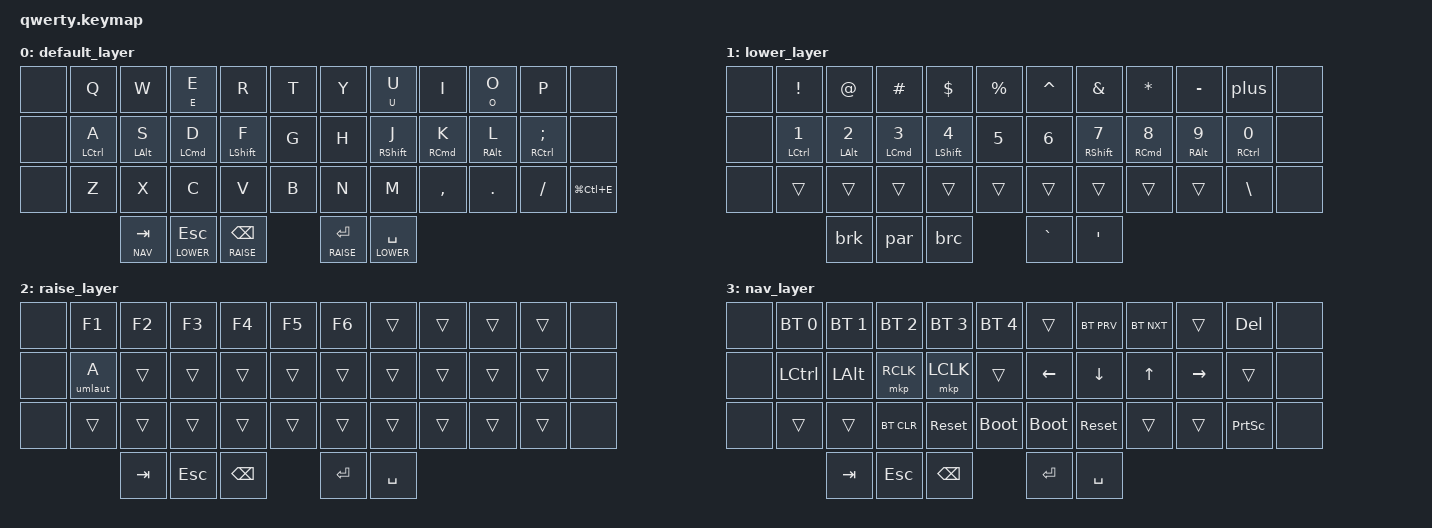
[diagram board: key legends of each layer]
/* upstream bindings and behaviors */
#include <behaviors.dtsi>
#include <dt-bindings/zmk/bt.h>
#include <dt-bindings/zmk/keys.h>
#include <dt-bindings/zmk/mouse.h>
#include <dt-bindings/zmk/outputs.h>
#include <behaviors/mouse_keys.dtsi>
#include <dt-bindings/zmk/ext_power.h>

#define DEFAULT 0
#define LOWER   1
#define RAISE   2
#define NAV     3

// todo: make dongle work.
// https://github.com/zmkfirmware/zmk/tree/main/app/boards/shields/corne
// https://github.com/aroum/zmk-enki42

// https://nickcoutsos.github.io/keymap-editor

&lt {
    quick-tap-ms = <200>;
    flavor = "balanced";
};

&caps_word {
    continue-list = <UNDERSCORE MINUS>;
};

/ {
      behaviors {
        hm: hold_preferred_homerow_mods {
            compatible = "zmk,behavior-hold-tap";
            #binding-cells = <2>;
            tapping-term-ms = <150>;
            quick-tap-ms = <200>;
            require-prior-idle-ms = <125>;
            flavor = "hold-preferred";
            bindings = <&kp>, <&kp>;
        };
        tm: tap_preferred_homerow_mods {
            compatible = "zmk,behavior-hold-tap";
            #binding-cells = <2>;
            tapping-term-ms = <150>;
            quick-tap-ms = <200>;
            require-prior-idle-ms = <125>;
            flavor = "tap-preferred";
            bindings = <&kp>, <&kp>;
        };
        mlt: mouse_lt {
            compatible = "zmk,behavior-hold-tap";
            #binding-cells = <2>;
            tapping-term-ms = <150>;
            tapping-term-ms = <200>;
            require-prior-idle-ms = <125>;
            flavor = "hold-preferred";
            bindings = <&mo>, <&mkp>;
        };
        eu: tap_preferred_euro_mods {
            compatible = "zmk,behavior-hold-tap";
            // behavior-hold-tap must have two parameters even though we're only using the second
            #binding-cells = <2>;
            tapping-term-ms = <150>;
            quick-tap-ms = <200>;
            require-prior-idle-ms = <125>;
            flavor = "tap-preferred";
            // long press will run the euro macro
            bindings = <&euro>, <&kp>;
        };
        um: tap_preferred_umlaut_mods {
            compatible = "zmk,behavior-hold-tap";
            #binding-cells = <2>;
            tapping-term-ms = <150>;
            quick-tap-ms = <200>;
            require-prior-idle-ms = <125>;
            flavor = "tap-preferred";
            // long press: umlaut with first param
            // tap: keypress second param
            bindings = <&umlaut>, <&kp>;
        };
        plus: plus_equals {
            compatible = "zmk,behavior-mod-morph";
            #binding-cells = <0>;
            bindings = <&kp PLUS>, <&kp EQUAL>;
            mods = <(MOD_LSFT|MOD_RSFT)>;
        };
        par: paranthesis {
            compatible = "zmk,behavior-mod-morph";
            #binding-cells = <0>;
            bindings = <&kp LPAR>, <&kp RPAR>;
            mods = <(MOD_LSFT|MOD_RSFT)>;
        };
        brc: curly_braces {
            compatible = "zmk,behavior-mod-morph";
            #binding-cells = <0>;
            bindings = <&kp LBRC>, <&kp RBRC>;
            mods = <(MOD_LSFT|MOD_RSFT)>;
        };
        brk: brackets {
            compatible = "zmk,behavior-mod-morph";
            #binding-cells = <0>;
            bindings = <&kp LBKT>, <&kp RBKT>;
            mods = <(MOD_LSFT|MOD_RSFT)>;
        };
    };
    macros {
        umlaut: umlaut {
            compatible = "zmk,behavior-macro-one-param";
            #binding-cells = <1>;
            bindings =
                <&macro_tap &kp K_CMENU>, // menu key is mapped to compose key
                <&macro_tap &kp DQT>,
                <&macro_tap>, // tap the key provided by params
                <&macro_param_1to1 &kp MACRO_PLACEHOLDER>;
        };
        euro: euro {
            compatible = "zmk,behavior-macro";
            #binding-cells = <0>;
            bindings =
                <&macro_tap &kp K_CMENU>,
                <&macro_tap &kp C>,
                <&macro_tap &kp EQUAL>;
        };
    };
    keymap {
        compatible = "zmk,keymap";

        default_layer {
            bindings = <
// ╭───────┬─────────────┬────────────┬────────────┬─────────────┬───────╮   ╭───────┬─────────────┬────────────┬────────────┬────────────────┬───────────────╮
     &none      &kp Q        &kp W        &eu E E       &kp R      &kp T       &kp Y     &um U U       &kp I       &um O O         &kp P            &none
// ├───────┼─────────────┼────────────┼────────────┼─────────────┼───────┤   ├───────┼─────────────┼────────────┼────────────┼────────────────┼───────────────┤
     &none   &tm LCTRL A   &tm LALT S   &tm LCMD D   &hm LSHFT F   &kp G       &kp H   &hm RSHFT J   &tm RCMD K   &tm RALT L   &tm RCTRL SEMI       &none
// ├───────┼─────────────┼────────────┼────────────┼─────────────┼───────┤   ├───────┼─────────────┼────────────┼────────────┼────────────────┼───────────────╯
     &none      &kp Z        &kp X        &kp C         &kp V      &kp B       &kp N      &kp M      &kp COMMA     &kp DOT        &kp FSLH      &kp LG(LC(E))
// ╰───────┴─────────────┴────────────┼────────────┼─────────────┼───────┤   ├───────┼─────────────┼────────────┴────────────┴────────────────┴───────────────╯
                          &lt NAV TAB    &lt LOWER ESC    &lt RAISE BSPC       &lt RAISE RET   &lt LOWER SPACE
//                    ╰───────────────┴─────────────────┴────────────────╯   ╰───────────────┴─────────────────╯
            >;
        };

        lower_layer {
            bindings = <
// ╭───────┬──────────────┬─────────────┬─────────────┬──────────────┬───────────╮   ╭───────────┬──────────────┬─────────────┬─────────────┬──────────────┬───────╮
     &none     &kp EXCL       &kp AT       &kp HASH       &kp DLLR     &kp PRCNT       &kp CARET     &kp AMPS      &kp STAR      &kp MINUS       &plus       &none
// ├───────┼──────────────┼─────────────┼─────────────┼──────────────┼───────────┤   ├───────────┼──────────────┼─────────────┼─────────────┼──────────────┼───────┤
     &none   &tm LCTRL N1   &tm LALT N2   &tm LCMD N3   &hm LSHFT N4     &kp N5         &kp N6     &hm RSHFT N7   &tm RCMD N8   &tm RALT N9   &tm RCTRL N0   &none
// ├───────┼──────────────┼─────────────┼─────────────┼──────────────┼───────────┤   ├───────────┼──────────────┼─────────────┼─────────────┼──────────────┼───────┤
     &none      &trans        &trans        &trans         &trans       &trans          &trans        &trans        &trans        &trans        &kp BSLH      &none
// ╰───────┴──────────────┴─────────────┼─────────────┼──────────────┼───────────┤   ├───────────┼──────────────┼─────────────┴─────────────┴──────────────┴───────╯
                                            &brk            &par         &brc          &kp GRAVE     &kp SQT
//                                      ╰─────────────┴──────────────┴───────────╯   ╰───────────┴──────────────╯
            >;
        };

        raise_layer {
            bindings = <
// ╭───────┬───────────┬────────┬────────┬────────┬────────╮   ╭────────┬────────────────┬───────────────┬──────────┬────────┬───────╮
     &none    &kp F1     &kp F2   &kp F3   &kp F4   &kp F5       &kp F6     &trans           &trans         &trans    &trans   &none
// ├───────┼───────────┼────────┼────────┼────────┼────────┤   ├────────┼────────────────┼───────────────┼──────────┼────────┼───────┤
     &none   &umlaut A   &trans   &trans   &trans   &trans       &trans      &trans           &trans       &trans     &trans   &none
// ├───────┼───────────┼────────┼────────┼────────┼────────┤   ├────────┼────────────────┼───────────────┼──────────┼────────┼───────┤
     &none     &trans    &trans   &trans   &trans   &trans       &trans      &trans           &trans       &trans     &trans   &none
// ╰───────┴───────────┴────────┼────────┼────────┼────────┤   ├────────┼────────────────┼───────────────┴──────────┴────────┴───────╯
                             &kp TAB   &kp ESC    &kp BSPC       &kp RET   &kp SPACE
//                         ╰────────┴───────────┴──────────╯   ╰─────────┴───────────╯
            >;
        };

        nav_layer {
            bindings = <
// ╭───────┬──────────────┬──────────────┬──────────────┬──────────────┬────────╮   ╭──────────┬────────────┬──────────┬───────────┬───────────┬───────╮
     &none   &bt BT_SEL 0   &bt BT_SEL 1   &bt BT_SEL 2   &bt BT_SEL 3 &bt BT_SEL 4    &trans   &bt BT_PRV   &bt BT_NXT    &trans    &kp DEL     &none
// ├───────┼──────────────┼──────────────┼──────────────┼──────────────┼────────┤   ├──────────┼────────────┼──────────┼───────────┼───────────┼───────┤
     &none     &kp LCTRL       &kp LALT      &mkp RCLK      &mkp LCLK     &trans       &kp LEFT    &kp DOWN     &kp UP    &kp RIGHT  &trans       &none
// ├───────┼──────────────┼──────────────┼──────────────┼──────────────┼────────┤   ├──────────┼────────────┼──────────┼───────────┼───────────┼───────┤
     &none      &trans         &trans       &bt BT_CLR     &sys_reset   &bootloader  &bootloader &sys_reset    &trans     &trans     &kp PSCRN   &none
// ╰───────┴──────────────┴──────────────┼──────────────┼──────────────┼────────┤   ├──────────┼────────────┼──────────┴───────────┴───────────┴───────╯
                                                   &kp TAB   &kp ESC    &kp BSPC      &kp RET    &kp SPACE
//                                               ╰─────────┴───────────┴────────╯   ╰──────────┴────────────╯
            >;
        };
    };
};
